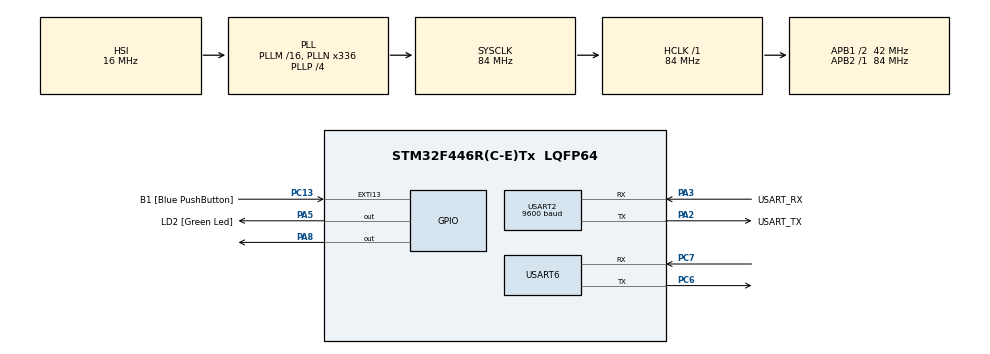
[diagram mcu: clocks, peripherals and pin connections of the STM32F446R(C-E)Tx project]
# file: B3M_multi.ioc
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Mcu.Family=STM32F4
Mcu.Name=STM32F446R(C-E)Tx
Mcu.Package=LQFP64
NVIC.PriorityGroup=NVIC_PRIORITYGROUP_0
PA13.GPIO_Label=TMS
PA13.Mode=Serial_Wire
PA13.Signal=SYS_JTMS-SWDIO
PA14.GPIO_Label=TCK
PA14.Mode=Serial_Wire
PA14.Signal=SYS_JTCK-SWCLK
PA2.GPIO_Label=USART_TX
PA2.Mode=Asynchronous
PA2.Signal=USART2_TX
PA3.GPIO_Label=USART_RX
PA3.Mode=Asynchronous
PA3.Signal=USART2_RX
PA5.GPIO_Label=LD2 [Green Led]
PA5.Signal=GPIO_Output
PA8.Signal=GPIO_Output
PB3.GPIO_Label=SWO
PB3.Signal=SYS_JTDO-SWO
PC13.GPIO_Label=B1 [Blue PushButton]
PC13.GPIO_ModeDefaultEXTI=GPIO_MODE_IT_FALLING
PC13.Signal=GPXTI13
PC14-OSC32_IN.Mode=LSE-External-Oscillator
PC14-OSC32_IN.Signal=RCC_OSC32_IN
PC15-OSC32_OUT.Mode=LSE-External-Oscillator
PC15-OSC32_OUT.Signal=RCC_OSC32_OUT
PC6.Mode=Asynchronous
PC6.Signal=USART6_TX
PC7.Mode=Asynchronous
PC7.Signal=USART6_RX
PH0-OSC_IN.Mode=HSE-External-Oscillator
PH0-OSC_IN.Signal=RCC_OSC_IN
PH1-OSC_OUT.Mode=HSE-External-Oscillator
PH1-OSC_OUT.Signal=RCC_OSC_OUT
ProjectManager.HeapSize=0x200
ProjectManager.StackSize=0x400
ProjectManager.TargetToolchain=STM32CubeIDE
RCC.48MHZClocksFreq_Value=84000000
RCC.AHBFreq_Value=84000000
RCC.APB1CLKDivider=RCC_HCLK_DIV2
RCC.APB1Freq_Value=42000000
RCC.APB1TimFreq_Value=84000000
RCC.APB2Freq_Value=84000000
RCC.APB2TimFreq_Value=84000000
RCC.CortexFreq_Value=84000000
RCC.FLatency-AdvancedSettings=FLASH_LATENCY_2
RCC.HCLKFreq_Value=84000000
RCC.HSE_VALUE=8000000
RCC.HSI_VALUE=16000000
RCC.PLLN=336
RCC.PLLP=RCC_PLLP_DIV4
RCC.SYSCLKFreq_VALUE=84000000
RCC.SYSCLKSource=RCC_SYSCLKSOURCE_PLLCLK
RCC.USBFreq_Value=168000000
RCC.VCOOutputFreq_Value=336000000
USART2.BaudRate=9600
USART2.VirtualMode=VM_ASYNC
USART6.VirtualMode=VM_ASYNC
board=NUCLEO-F446RE

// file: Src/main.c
/* USER CODE BEGIN Header */
/**
  ******************************************************************************
  * @file           : main.c
  * @brief          : Main program body
  ******************************************************************************
  * @attention
  *
  * <h2><center>&copy; Copyright (c) 2020 STMicroelectronics.
  * All rights reserved.</center></h2>
  *
  * This software component is licensed by ST under BSD 3-Clause license,
  * the "License"; You may not use this file except in compliance with the
  * License. You may obtain a copy of the License at:
  *                        opensource.org/licenses/BSD-3-Clause
  *
  ******************************************************************************
  */
/* USER CODE END Header */

#include "main.h"

UART_HandleTypeDef huart2;
UART_HandleTypeDef huart6;

void SystemClock_Config(void);
static void MX_GPIO_Init(void);
static void MX_USART2_UART_Init(void);
static void MX_USART6_UART_Init(void);

int main(void)
{

  /* MCU Configuration--------------------------------------------------------*/

  /* Reset of all peripherals, Initializes the Flash interface and the Systick. */
  HAL_Init();

  /* Configure the system clock */
  SystemClock_Config();

  /* Initialize all configured peripherals */
  MX_GPIO_Init();
  MX_USART2_UART_Init();
  MX_USART6_UART_Init();
  /* USER CODE BEGIN 2 */

  uint8_t txdata[20] = {0};

    void pos(unsigned char id,short deg,unsigned short time)
  {
      unsigned char deg_l = (unsigned char)(deg)&0x00FF;
      unsigned char deg_h = (unsigned char)(deg>>8)&0x00FF;
      unsigned char time_l = (unsigned char)(time)&0x00FF;
      unsigned char time_h = (unsigned char)(time>>8)&0x00FF;
      unsigned char sum = (0x09+0x06+id+deg_l+deg_h+time_l+time_h)&0x00FF;

      txdata[0]=0x09;   //1 SIZE
      txdata[1]=0x06;   //2 COMMAND
      txdata[2]=0x00;   //3 OPTION
      txdata[3]=id;     //4 ID
      txdata[4]=deg_l;  //5 POS_L
      txdata[5]=deg_h;  //6 POS_H
      txdata[6]=time_l; //7 TIME_L
      txdata[7]=time_h; //8 TIME_H
      txdata[8]=sum;    //9 SUM
      HAL_Delay(0.03);

  }
    void pos_multi(unsigned char id,short deg,unsigned char id2,short deg2,unsigned short time)
  {
      unsigned char deg_l = (unsigned char)(deg)&0x00FF;
      unsigned char deg_h = (unsigned char)(deg>>8)&0x00FF;
      unsigned char deg2_l = (unsigned char)(deg2)&0x00FF;
      unsigned char deg2_h = (unsigned char)(deg2>>8)&0x00FF;
      unsigned char time_l = (unsigned char)(time)&0x00FF;
      unsigned char time_h = (unsigned char)(time>>8)&0x00FF;
      unsigned char sum = (0x09+0x06+id+deg_l+deg_h+id2+deg2_l+deg2_h+time_l+time_h)&0x00FF;

      txdata[0]=0x09;   //1 SIZE
      txdata[1]=0x06;   //2 COMMAND
      txdata[2]=0x00;   //3 OPTION
      txdata[3]=id;     //4 ID
      txdata[4]=deg_l;  //5 POS_L
      txdata[5]=deg_h;  //6 POS_H
      txdata[6]=id2;     //7 ID2
      txdata[7]=deg2_l;  //8 POS2_L
      txdata[8]=deg2_h;  //9 POS2_H
      txdata[9]=time_l; //10TIME_L
      txdata[10]=time_h; //11 TIME_H
      txdata[11]=sum;    //12 SUM
      HAL_Delay(0.03);

  }

    void write(unsigned char id,unsigned char data,unsigned char adress)
    {
        unsigned char sum = (0x08+0x04+0x00+id+data+adress+0x01)&0x00FF;
       HAL_GPIO_WritePin(GPIOA, GPIO_PIN_8, 1);
       txdata[0]=0x08;   //1 SIZE
       txdata[1]=0x04;   //2 COMMAND
       txdata[2]=0x00;   //3 OPTION
       txdata[3]=id;     //4 ID
       txdata[4]=data;  //5 DATA
       txdata[5]=adress;  //6 ADRESS
       txdata[6]=0x01; //7 COUNT
       txdata[7]=sum;    //8 SUM
       HAL_UART_Transmit(&huart6, txdata, 8, 0xFFFF);
       HAL_GPIO_WritePin(GPIOA, GPIO_PIN_8, 0);
       HAL_Delay(1);
    }

  /* USER CODE END 2 */

  /* Infinite loop */
  while (1)
  {

    /* USER CODE BEGIN 3 */

	  write(0xFF,0x00,0x28);
	  write(0xFF,0x01,0x29);

	  pos_multi(2,7000,8,-24000,2000);
	  HAL_GPIO_WritePin(GPIOA, GPIO_PIN_8, 1);
	  HAL_UART_Transmit(&huart6, txdata, 12, 0xFFFF);
	  HAL_Delay(2);
	  HAL_GPIO_WritePin(GPIOA, GPIO_PIN_8, 0);
	  HAL_Delay(2000);

	  pos_multi(2,0,8,-15000,2000);
	  HAL_GPIO_WritePin(GPIOA, GPIO_PIN_8, 1);
	  HAL_UART_Transmit(&huart6, txdata, 12, 0xFFFF);
	  HAL_Delay(2);
	  HAL_GPIO_WritePin(GPIOA, GPIO_PIN_8, 0);
	  HAL_Delay(2000);

  }
  /* USER CODE END 3 */
}

void SystemClock_Config(void)
{
  RCC_OscInitTypeDef RCC_OscInitStruct = {0};
  RCC_ClkInitTypeDef RCC_ClkInitStruct = {0};

  /** Configure the main internal regulator output voltage
  */
  __HAL_RCC_PWR_CLK_ENABLE();
  __HAL_PWR_VOLTAGESCALING_CONFIG(PWR_REGULATOR_VOLTAGE_SCALE3);
  /** Initializes the CPU, AHB and APB busses clocks
  */
  RCC_OscInitStruct.OscillatorType = RCC_OSCILLATORTYPE_HSI;
  RCC_OscInitStruct.HSIState = RCC_HSI_ON;
  RCC_OscInitStruct.HSICalibrationValue = RCC_HSICALIBRATION_DEFAULT;
  RCC_OscInitStruct.PLL.PLLState = RCC_PLL_ON;
  RCC_OscInitStruct.PLL.PLLSource = RCC_PLLSOURCE_HSI;
  RCC_OscInitStruct.PLL.PLLM = 16;
  RCC_OscInitStruct.PLL.PLLN = 336;
  RCC_OscInitStruct.PLL.PLLP = RCC_PLLP_DIV4;
  RCC_OscInitStruct.PLL.PLLQ = 2;
  RCC_OscInitStruct.PLL.PLLR = 2;
  if (HAL_RCC_OscConfig(&RCC_OscInitStruct) != HAL_OK)
  {
    Error_Handler();
  }
  /** Initializes the CPU, AHB and APB busses clocks
  */
  RCC_ClkInitStruct.ClockType = RCC_CLOCKTYPE_HCLK|RCC_CLOCKTYPE_SYSCLK
                              |RCC_CLOCKTYPE_PCLK1|RCC_CLOCKTYPE_PCLK2;
  RCC_ClkInitStruct.SYSCLKSource = RCC_SYSCLKSOURCE_PLLCLK;
  RCC_ClkInitStruct.AHBCLKDivider = RCC_SYSCLK_DIV1;
  RCC_ClkInitStruct.APB1CLKDivider = RCC_HCLK_DIV2;
  RCC_ClkInitStruct.APB2CLKDivider = RCC_HCLK_DIV1;

  if (HAL_RCC_ClockConfig(&RCC_ClkInitStruct, FLASH_LATENCY_2) != HAL_OK)
  {
    Error_Handler();
  }
}

static void MX_USART2_UART_Init(void)
{

  huart2.Instance = USART2;
  huart2.Init.BaudRate = 9600;
  huart2.Init.WordLength = UART_WORDLENGTH_8B;
  huart2.Init.StopBits = UART_STOPBITS_1;
  huart2.Init.Parity = UART_PARITY_NONE;
  huart2.Init.Mode = UART_MODE_TX_RX;
  huart2.Init.HwFlowCtl = UART_HWCONTROL_NONE;
  huart2.Init.OverSampling = UART_OVERSAMPLING_16;
  if (HAL_UART_Init(&huart2) != HAL_OK)
  {
    Error_Handler();
  }

}

static void MX_USART6_UART_Init(void)
{

  huart6.Instance = USART6;
  huart6.Init.BaudRate = 115200;
  huart6.Init.WordLength = UART_WORDLENGTH_8B;
  huart6.Init.StopBits = UART_STOPBITS_1;
  huart6.Init.Parity = UART_PARITY_NONE;
  huart6.Init.Mode = UART_MODE_TX_RX;
  huart6.Init.HwFlowCtl = UART_HWCONTROL_NONE;
  huart6.Init.OverSampling = UART_OVERSAMPLING_16;
  if (HAL_UART_Init(&huart6) != HAL_OK)
  {
    Error_Handler();
  }

}

static void MX_GPIO_Init(void)
{
  GPIO_InitTypeDef GPIO_InitStruct = {0};

  /* GPIO Ports Clock Enable */
  __HAL_RCC_GPIOC_CLK_ENABLE();
  __HAL_RCC_GPIOH_CLK_ENABLE();
  __HAL_RCC_GPIOA_CLK_ENABLE();
  __HAL_RCC_GPIOB_CLK_ENABLE();

  /*Configure GPIO pin Output Level */
  HAL_GPIO_WritePin(GPIOA, LD2_Pin|GPIO_PIN_8, GPIO_PIN_RESET);

  /*Configure GPIO pin : B1_Pin */
  GPIO_InitStruct.Pin = B1_Pin;
  GPIO_InitStruct.Mode = GPIO_MODE_IT_FALLING;
  GPIO_InitStruct.Pull = GPIO_NOPULL;
  HAL_GPIO_Init(B1_GPIO_Port, &GPIO_InitStruct);

  /*Configure GPIO pins : LD2_Pin PA8 */
  GPIO_InitStruct.Pin = LD2_Pin|GPIO_PIN_8;
  GPIO_InitStruct.Mode = GPIO_MODE_OUTPUT_PP;
  GPIO_InitStruct.Pull = GPIO_NOPULL;
  GPIO_InitStruct.Speed = GPIO_SPEED_FREQ_LOW;
  HAL_GPIO_Init(GPIOA, &GPIO_InitStruct);

}

void Error_Handler(void)
{
}

/************************ (C) COPYRIGHT STMicroelectronics *****END OF FILE****/
